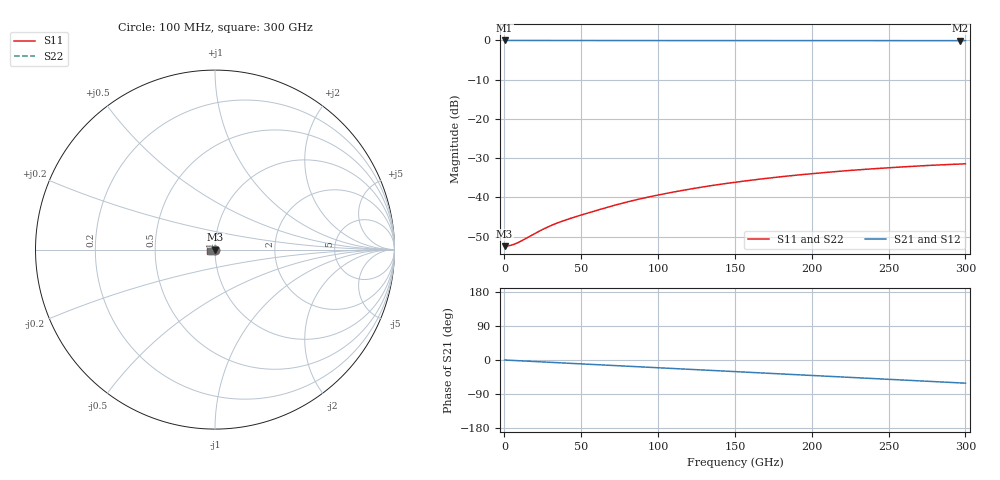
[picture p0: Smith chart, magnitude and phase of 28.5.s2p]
#  Hz  S  RI  R  50
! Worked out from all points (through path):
!   3000 points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, 100 MHz to 300 GHz, reference 50 ohm
!   highest |S21| = -0.02 dB at 100 MHz (marker M1); lowest = -0.1 dB at 296.7 GHz (marker M2)
!   group delay of S21, straight-line fit = 566 fs
!   lowest |S11| = -52.4 dB at 100 MHz (marker M3), VSWR 1.00, Z = 50.2 - j0.000187 ohm
!   |S11| at or under -10 dB: start of sweep to end of sweep
!   |S22| runs from -52.5 to -31.5 dB; largest |S21 - S12| = 2.8e-05
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1e8  0.00239 -1.86e-06  0.9977 -0.000367  0.9977 -0.000367  0.00238 -1.63e-06
3.5e9  0.00243 -7.11e-05  0.9976 -0.0128  0.9976 -0.0128  0.00243 -6.27e-05
7.2e9  0.00256 -0.000183  0.9971 -0.0264  0.9971 -0.0264  0.00256 -0.000166
1.15e10  0.00279 -0.000401  0.9963 -0.0419  0.9963 -0.0419  0.00278 -0.000375
2.3e10  0.00341 -0.00154  0.9928 -0.0828  0.9928 -0.0828  0.00341 -0.00149
2.96e10  0.00357 -0.00243  0.9904 -0.1059  0.9904 -0.1059  0.00357 -0.00238
3.84e10  0.00349 -0.00364  0.9864 -0.1368  0.9864 -0.1368  0.00349 -0.00357
5.01e10  0.00313 -0.00509  0.9797 -0.1777  0.9797 -0.1777  0.00313 -0.005
6.62e10  0.00248 -0.00698  0.9674 -0.2334  0.9674 -0.2334  0.0025 -0.00685
7.73e10  0.00185 -0.00829  0.9573 -0.2713  0.9573 -0.2713  0.00188 -0.00814
8.81e10  0.00107 -0.0095  0.946 -0.3078  0.946 -0.3078  0.00111 -0.00933
1.001e11  4.95e-05 -0.0107  0.9318 -0.3478  0.9318 -0.3478  9.49e-05 -0.0105
1.126e11  -0.00114 -0.0119  0.9152 -0.3887  0.9152 -0.3887  -0.00108 -0.0117
1.251e11  -0.00248 -0.013  0.8969 -0.4288  0.8969 -0.4288  -0.00241 -0.0127
1.501e11  -0.00553 -0.0146  0.8551 -0.5065  0.855 -0.5065  -0.00544 -0.0143
1.751e11  -0.00891 -0.0155  0.8065 -0.5801  0.8065 -0.5801  -0.0088 -0.0152
2.001e11  -0.0125 -0.0157  0.7516 -0.6491  0.7516 -0.6491  -0.0124 -0.0154
2.252e11  -0.0161 -0.0151  0.6906 -0.7133  0.6906 -0.7133  -0.0159 -0.0148
2.501e11  -0.0195 -0.0138  0.6246 -0.7712  0.6246 -0.7712  -0.0193 -0.0134
2.738e11  -0.0225 -0.0118  0.5574 -0.821  0.5574 -0.8209  -0.0223 -0.0115
2.967e11  -0.0249 -0.00939  0.4887 -0.863  0.4887 -0.863  -0.0247 -0.00911
3e11  -0.0252 -0.00901  0.4785 -0.8687  0.4785 -0.8687  -0.0251 -0.00874
